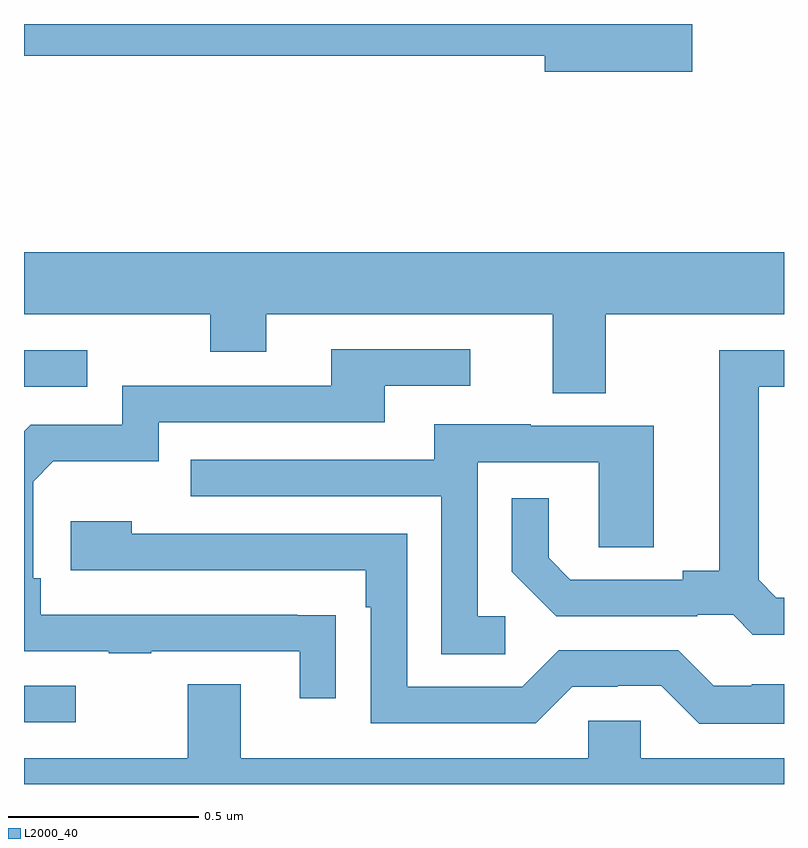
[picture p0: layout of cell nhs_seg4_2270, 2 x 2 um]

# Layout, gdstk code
import gdstk
lib = gdstk.Library(unit=1e-6, precision=1e-09)
def R(c, l, rs):  # rectangles x0, y0, x1, y1
    for r in rs: c.add(gdstk.rectangle(r[:2], r[2:], *l))
def P(c, l, *ps):  # polygons
    for p in ps: c.add(gdstk.Polygon(p, *l))
L2000_40 = (2000, 40)

nhs_seg4_2270 = lib.new_cell('nhs_seg4_2270')
R(nhs_seg4_2270, L2000_40, [(138,813.063,138.136,813.159), (138,813.945,138.166,814.041)])
P(nhs_seg4_2270, L2000_40, [(139.759,814.9),(138,814.9),(138,814.816),(139.37,814.816),(139.37,814.774),(139.759,814.774)],
  [(139.531,814.136),(140,814.136),(140,814.3),(138,814.3),(138,814.136),(138.49,814.136),(138.49,814.037),(138.637,814.037),(138.637,814.136),(139.391,814.136),(139.391,813.928),(139.531,813.928)],
  [(138.821,813.344),(138.719,813.344),(138.719,813.345),(138.044,813.345),(138.044,813.442),(138.024,813.442),(138.024,813.696),(138.077,813.749),(138.354,813.749),(138.354,813.852),(138.949,813.852),(138.949,813.948),(139.174,813.948),(139.174,814.044),(138.809,814.044),(138.809,813.948),(138.258,813.948),(138.258,813.846),(138.018,813.846),(138,813.828),(138,813.249),(138.223,813.249),(138.223,813.244),(138.335,813.244),(138.335,813.249),(138.725,813.249),(138.725,813.126),(138.821,813.126)],
  [(140,813.39),(139.98,813.39),(139.933,813.437),(139.933,813.945),(140,813.945),(140,814.041),(139.829,814.041),(139.829,813.461),(139.733,813.461),(139.733,813.438),(139.438,813.438),(139.381,813.495),(139.381,813.652),(139.284,813.652),(139.284,813.458),(139.4,813.342),(139.772,813.342),(139.772,813.345),(139.866,813.345),(139.918,813.293),(140,813.293)],
  [(139.267,813.342),(139.194,813.342),(139.194,813.747),(139.512,813.747),(139.512,813.523),(139.657,813.523),(139.657,813.843),(139.333,813.843),(139.333,813.847),(139.079,813.847),(139.079,813.753),(138.439,813.753),(138.439,813.657),(139.098,813.657),(139.098,813.241),(139.267,813.241)],
  [(140,813.163),(139.915,813.163),(139.915,813.159),(139.815,813.159),(139.722,813.252),(139.407,813.252),(139.311,813.156),(139.008,813.156),(139.008,813.558),(138.284,813.558),(138.284,813.592),(138.123,813.592),(138.123,813.462),(138.899,813.462),(138.899,813.365),(138.912,813.365),(138.912,813.06),(139.347,813.06),(139.443,813.156),(139.562,813.156),(139.562,813.159),(139.677,813.159),(139.777,813.059),(140,813.059)],
  [(140,812.968),(139.623,812.968),(139.623,813.066),(139.485,813.066),(139.485,812.968),(138.571,812.968),(138.571,813.163),(138.431,813.163),(138.431,812.968),(138,812.968),(138,812.9),(140,812.9)])

lib.write_gds('nhs_seg4_2270.gds')
